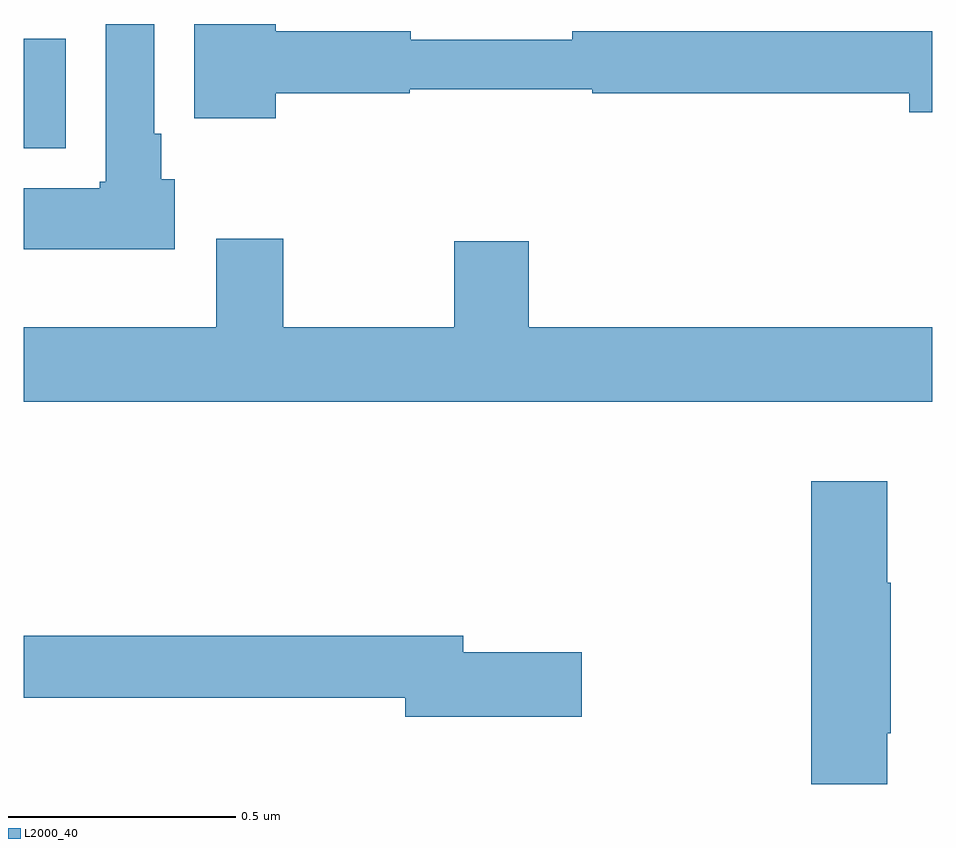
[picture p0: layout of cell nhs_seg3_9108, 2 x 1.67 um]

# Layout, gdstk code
import gdstk
lib = gdstk.Library(unit=1e-6, precision=1e-09)
def R(c, l, rs):  # rectangles x0, y0, x1, y1
    for r in rs: c.add(gdstk.rectangle(r[:2], r[2:], *l))
def P(c, l, *ps):  # polygons
    for p in ps: c.add(gdstk.Polygon(p, *l))
L2000_40 = (2000, 40)

nhs_seg3_9108 = lib.new_cell('nhs_seg3_9108')
R(nhs_seg3_9108, L2000_40, [(224,716.126,224.092,716.368)])
P(nhs_seg3_9108, L2000_40, [(224.554,716.248),(224.85,716.248),(224.85,716.256),(225.252,716.256),(225.252,716.248),(225.95,716.248),(225.95,716.206),(226,716.206),(226,716.384),(225.208,716.384),(225.208,716.365),(224.852,716.365),(224.852,716.384),(224.554,716.384),(224.554,716.4),(224.375,716.4),(224.375,716.192),(224.554,716.192)],
  [(224.332,716.058),(224.302,716.058),(224.302,716.158),(224.287,716.158),(224.287,716.4),(224.18,716.4),(224.18,716.052),(224.167,716.052),(224.167,716.038),(224,716.038),(224,715.904),(224.332,715.904)],
  [(226,715.732),(225.112,715.732),(225.112,715.921),(224.948,715.921),(224.948,715.732),(224.571,715.732),(224.571,715.927),(224.423,715.927),(224.423,715.732),(224,715.732),(224,715.568),(226,715.568)],
  [(225.901,714.838),(225.909,714.838),(225.909,715.169),(225.901,715.169),(225.901,715.393),(225.734,715.393),(225.734,714.726),(225.901,714.726)],
  [(225.229,715.016),(224.968,715.016),(224.968,715.052),(224,715.052),(224,714.916),(224.84,714.916),(224.84,714.874),(225.229,714.874)])

lib.write_gds('nhs_seg3_9108.gds')
